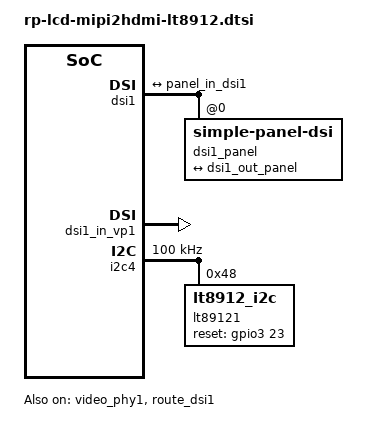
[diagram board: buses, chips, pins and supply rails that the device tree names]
#include "rp-lcd-hdmi.dtsi"



&dsi1 {
    status = "okay";
    //rockchip,lane-rate = <480>;

    dsi1_panel: panel@0 {
        status = "okay";
        compatible = "simple-panel-dsi";
        reg = <0>;

        init-delay-ms = <120>;
        reset-delay-ms = <120>;
        enable-delay-ms = <120>;
        prepare-delay-ms = <120>;
        unprepare-delay-ms = <60>;
        disable-delay-ms = <60>;
//        dsi,flags = <(MIPI_DSI_MODE_VIDEO | MIPI_DSI_MODE_VIDEO_BURST |
//                        MIPI_DSI_MODE_LPM | MIPI_DSI_MODE_EOT_PACKET)>;

//        dsi,flags = <(MIPI_DSI_MODE_VIDEO | MIPI_DSI_MODE_VIDEO_BURST |
//            MIPI_DSI_MODE_LPM | MIPI_DSI_MODE_EOT_PACKET)>;
                        
        dsi,flags = <(MIPI_DSI_MODE_VIDEO | MIPI_DSI_MODE_VIDEO_BURST |
              MIPI_DSI_MODE_VIDEO_HBP | MIPI_DSI_MODE_LPM |
              MIPI_DSI_MODE_EOT_PACKET)>;
              
        dsi,format = <MIPI_DSI_FMT_RGB888>;
        dsi,lanes  = <4>;

        /**
         * power-supply = <>;
         * reset-gpios = <>;
         *
         * lcd reset pin and power supply
         * please refer to ***-lcd-gpio.dtsi
         * that included in main dts.
         */

        panel-init-sequence = [
            05 78 01 11
            05 05 01 29
        ];

        panel-exit-sequence = [
            05 00 01 28
            05 78 01 10
        ];

        disp_timings1: display-timings {
            native-mode = <&dsi1_timing0>;
            dsi1_timing0: timing0 {
                clock-frequency = <148500000>;//140000000
                hactive = <1920>;
                vactive = <1080>;
                hback-porch = <148>;//60
                hfront-porch = <88>;
                vback-porch = <36>;//23
                vfront-porch = <4>;//12
                hsync-len = <44>;
                vsync-len = <5>;
                hsync-active = <0>;
                vsync-active = <0>;
                de-active = <0>;
                pixelclk-active = <0>;
            };
        };

        ports {
            #address-cells = <1>;
            #size-cells = <0>;

            port@0 {
                reg = <0>;
                panel_in_dsi1: endpoint {
                    remote-endpoint = <&dsi1_out_panel>;
                };
            };
        };
    };

    ports {
        #address-cells = <1>;
        #size-cells = <0>;

        port@1 {
            reg = <1>;
            dsi1_out_panel: endpoint {
                remote-endpoint = <&panel_in_dsi1>;
            };
        };
    };
};



&dsi1_in_vp0 {
    status = "disabled";
};

&dsi1_in_vp1 {
    status = "okay";
};



&video_phy1 {
    status = "okay";
};

&video_phy0 {
    status = "disabled";
};

&route_dsi1 {
    status = "okay";
    connect = <&vp1_out_dsi1>;
};


&i2c4 {
        status = "okay";
        pinctrl-names = "default";
        pinctrl-0 = <&i2c4m0_xfer>;
        clock-frequency = <100000>;

    /delete-node/ gt1x@14;
        lt89121: lt89121@48 {
                status = "okay";
                compatible = "lt8912_i2c";
                reg = <0x48>;
                reset-gpios = <&gpio3 23 GPIO_ACTIVE_HIGH>;
        };
};


